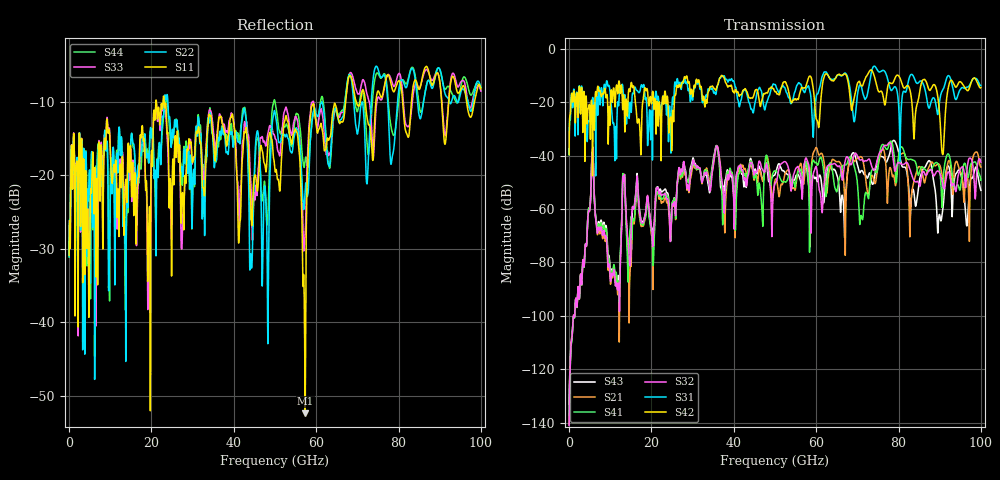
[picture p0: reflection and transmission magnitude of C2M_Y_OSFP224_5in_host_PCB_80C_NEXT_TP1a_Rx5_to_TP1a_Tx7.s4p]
# GHz S RI R 45
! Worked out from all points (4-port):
!   4000 points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, 25 MHz to 100 GHz, reference 45 ohm
!   strongest paths, dB at 25 MHz, 25.02 GHz, 50.02 GHz, 75.03 GHz, 100 GHz:
!     S42: -39.6, -28.1, -16.1, -15.6, -14.6
!     S31: -39.6, -20.4, -13.4, -8.3, -13.8
!     S32: -141.1, -59.4, -50.4, -40.5, -42.5
!     S41: -137.1, -59.0, -45.7, -44.0, -49.2
!     S21: -140.8, -59.3, -49.2, -44.0, -44.3
!     S43: -133.2, -58.8, -47.1, -41.1, -53.0
!   lowest |S11| = -52.3 dB at 57.35 GHz (marker M1), VSWR 1.00, Z = 44.9 - j0.206 ohm
!   |S11| at or under -10 dB: start of sweep to 21.09 GHz; 23.11 GHz to 67.17 GHz (44.06 GHz wide, 97.6 % of centre); 71.95 GHz to 74.51 GHz (2.559 GHz wide, 3.49 % of centre)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
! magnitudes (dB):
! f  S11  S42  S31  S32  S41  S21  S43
! 25 MHz  -30.9  -39.6  -39.6  -141.1  -137.1  -140.8  -133.2
! 5.7 GHz  -17.4  -47.6  -18.5  -38.5  -38.5  -38.6  -38.4
! 11.93 GHz  -21.9  -15.2  -20.3  -88.2  -87.3  -90.6  -85.2
! 13.3 GHz  -27.7  -17.5  -18.9  -49.4  -49.1  -49.3  -49.2
! 14.7 GHz  -19.4  -15.7  -23.1  -80.5  -70.6  -88.3  -71.5
! 57.35 GHz  -52.3  -14.7  -15.9  -41.5  -42.8  -44.5  -42.2
! 100 GHz  -8.3  -14.6  -13.8  -42.5  -49.2  -44.3  -53.0
